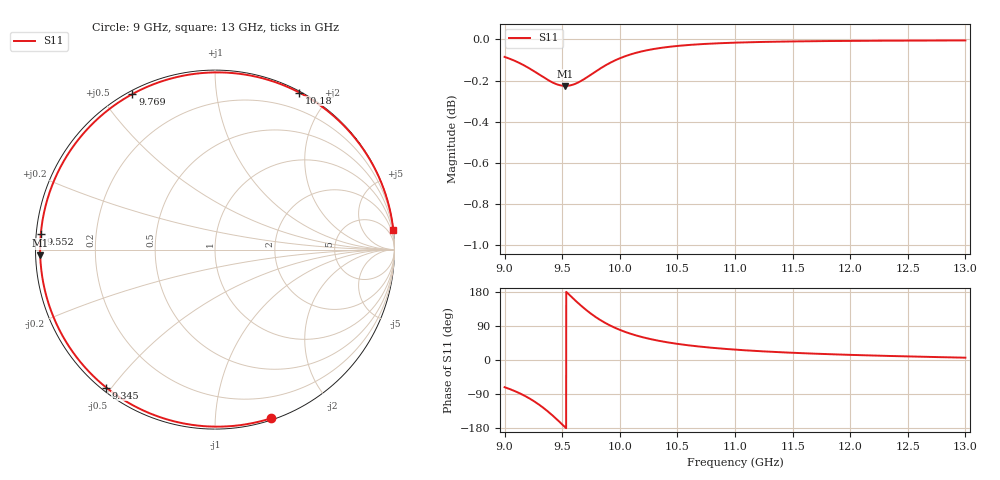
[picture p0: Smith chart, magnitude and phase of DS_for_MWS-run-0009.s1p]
! TOUCHSTONE file generated by CST DESIGN STUDIO
! Date and time: Tue Feb  4 14:24:16 2025
! Project name: C:\Work\MatlabApps\UnitCellOptimizationMatlab\CST\unitcell.cst
! Tree item: Tasks\Sweep1\SPara1\S-Parameters
! Header version: 2024
! Port assignment regex: !\s*Touchstone port\s*([0-9]+)\s*=\s*(CST MWS port|CST DES external port|CST DES block port)\s*(.+)\s* \(\"(.*)\"\)(\s*mode\s*([0-9]+))?.*
! Touchstone port assignment:
! Touchstone port 1 = CST DES external port 1 ("")
# GHz S MA R 50
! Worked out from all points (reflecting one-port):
!   4001 points, 9 GHz to 13 GHz, reference 50 ohm
!   lowest |S11| = -0.2 dB at 9.528 GHz (marker M1), VSWR 76.99, Z = 0.65 - j0.81 ohm
!   phase of S11 starts at -72 deg and turns -282 deg over the sweep
!   S11 on the Smith chart (normalised r, x): 9 GHz: 0.01, -1.38; 9.345 GHz: 0.01, -0.48; 9.552 GHz: 0.01, +0.05; 9.769 GHz: 0.01, +0.60; 10.18 GHz: 0.01, +1.67; 13 GHz: 0, +19
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9  0.9903 -71.8
9.096  0.9879 -83.1
9.203  0.9844 -99.2
9.277  0.9815 -113.2
9.345  0.9788 -128.3
9.418  0.9762 -146.8
9.461  0.9751 -158.8
9.5  0.9745 -170.0
9.528  0.9744 -178.1
9.552  0.9744 174.8
9.606  0.9753 159.2
9.667  0.9772 142.5
9.718  0.9792 129.6
9.769  0.9813 118.0
9.818  0.9834 107.9
9.871  0.9854 98.3
9.93  0.9875 89.0
10  0.9895 79.6
10.085  0.9915 70.1
10.177  0.9931 61.8
10.324  0.995 51.5
10.5  0.9964 42.6
10.721  0.9974 34.5
11  0.9982 27.4
11.5  0.9989 19.0
12  0.9992 13.5
12.5  0.9994 9.5
13  0.9995 6.1
